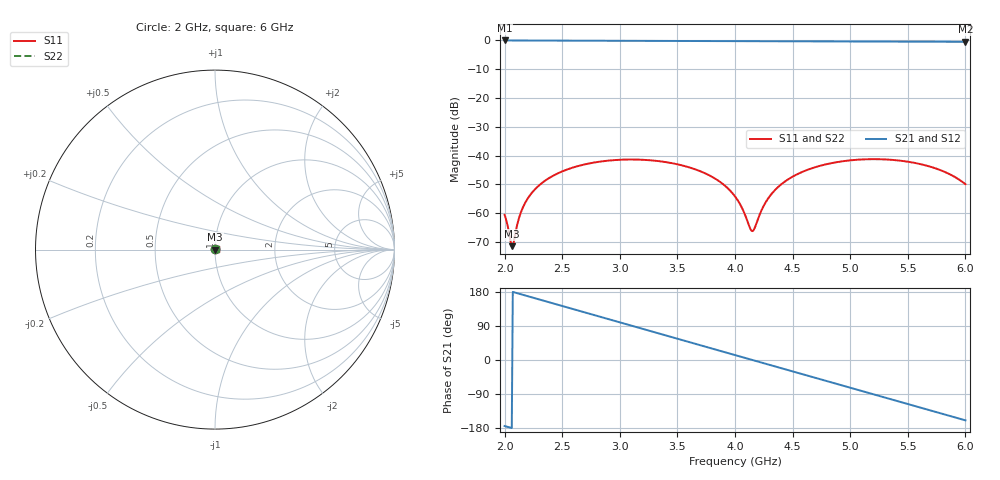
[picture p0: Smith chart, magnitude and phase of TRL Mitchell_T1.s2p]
! Touchstone file from project TRL Mitchell
! Exported from Circuit Design 2017.1.0
! Variables:
!  $thru = 40mm
!  thru = 40mm
!  width = 3.01746mm
!Data is not renormalized
# GHZ S MA
! Modal data exported
! Port[1] = n1
! Port[2] = n2
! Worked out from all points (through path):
!   451 points, 2 GHz to 6 GHz, reference per port
!   highest |S21| = -0.25 dB at 2 GHz (marker M1); lowest = -0.7 dB at 6 GHz (marker M2)
!   group delay of S21, straight-line fit = 240 ps
!   lowest |S11| = -71.3 dB at 2.062 GHz (marker M3), VSWR 1.00
!   |S11| at or under -10 dB: start of sweep to end of sweep
!   |S22| runs from -71.3 to -41.3 dB; largest |S21 - S12| = 5.6e-14
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2  0.0009478 39.4  0.9719 -174.2  0.9719 -174.2  0.0009478 39.4
! Port Impedance50 0 50 0
2.062222  0.0002718 94.3  0.971 -179.6  0.971 -179.6  0.0002718 94.3
2.08  0.000322 139.5  0.9708 178.8  0.9708 178.8  0.000322 139.5
2.124444  0.0008258 171.7  0.9702 175.0  0.9702 175.0  0.0008258 171.7
2.16  0.001284 174.9  0.9697 171.9  0.9697 171.9  0.001284 174.9
2.257778  0.002537 171.0  0.9684 163.5  0.9684 163.5  0.002537 171.0
2.426667  0.004538 156.7  0.9661 148.9  0.9661 148.9  0.004538 156.7
2.666667  0.006812 134.1  0.9629 128.1  0.9629 128.1  0.006812 134.1
3.004444  0.008453 101.8  0.9584 98.9  0.9584 98.9  0.008453 101.8
3.342222  0.007982 70.1  0.954 69.7  0.954 69.7  0.007982 70.1
3.742222  0.004913 34.6  0.9488 35.2  0.9488 35.2  0.004913 34.6
3.893333  0.003239 23.4  0.9468 22.2  0.9468 22.2  0.003239 23.4
4  0.001968 19.3  0.9454 13.0  0.9454 13.0  0.001968 19.3
4.151111  0.0004947 81.7  0.9435 -0.0  0.9435 -0.0  0.0004947 81.7
4.257778  0.001455 140.9  0.9421 -9.2  0.9421 -9.2  0.001455 140.9
4.346667  0.002527 141.4  0.941 -16.9  0.941 -16.9  0.002527 141.4
4.488889  0.004189 132.8  0.9392 -29.1  0.9392 -29.1  0.004189 132.8
4.666667  0.006017 118.7  0.9369 -44.5  0.9369 -44.5  0.006017 118.7
5.013333  0.008306 89.0  0.9326 -74.3  0.9326 -74.3  0.008306 89.0
5.342222  0.008474 60.5  0.9285 -102.6  0.9285 -102.6  0.008474 60.5
5.715556  0.006235 29.6  0.9238 -134.8  0.9238 -134.8  0.006235 29.6
6  0.003198 11.4  0.9204 -159.2  0.9204 -159.2  0.003198 11.4
